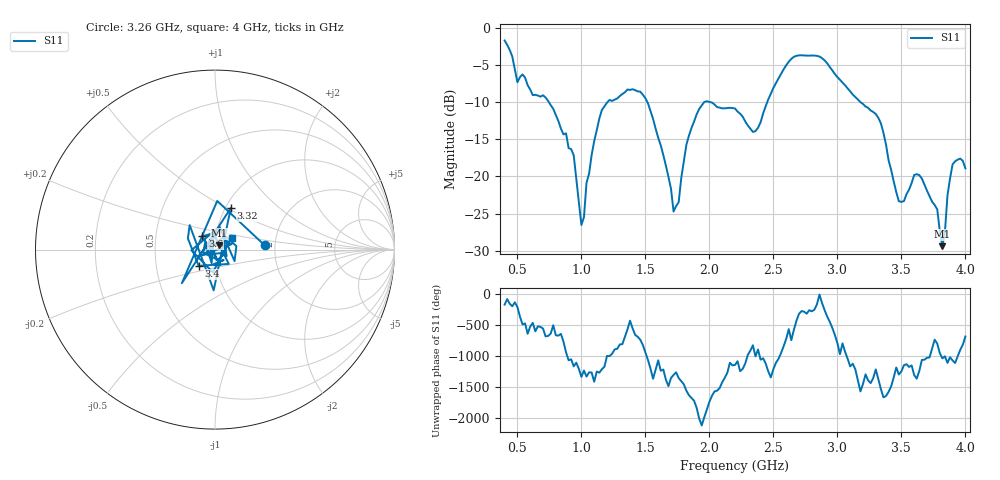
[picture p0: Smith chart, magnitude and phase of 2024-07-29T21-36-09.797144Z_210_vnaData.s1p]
!Created with skrf (http://scikit-rf.org).
# Hz S RI R 50.0
!freq ReS11 ImS11
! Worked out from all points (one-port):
!   181 points, 400 MHz to 4 GHz, reference 50 ohm
!   lowest |S11| = -29.4 dB at 3.82 GHz (marker M1), VSWR 1.07, Z = 52.4 + j2.49 ohm
!   |S11| at or under -10 dB: 745.6 MHz to 1.204 GHz (458.3 MHz wide, 47 % of centre); 1.515 GHz to 1.959 GHz (443.5 MHz wide, 25.5 % of centre); 3.18 GHz to end of sweep (the widest 3 of 4)
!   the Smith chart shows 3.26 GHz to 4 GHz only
!   S11 on the Smith chart (normalised r, x): 3.26 GHz: 1.76, +0.09; 3.32 GHz: 1.06, +0.52; 3.4 GHz: 0.82, -0.15; 3.6 GHz: 0.86, +0.13; 4 GHz: 1.19, +0.16
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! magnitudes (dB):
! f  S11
! 400 MHz  -1.7
! 500 MHz  -7.3
! 720 MHz  -9.4
! 860 MHz  -14.3
! 940 MHz  -17.2
! 1 GHz  -26.5
! 1.14 GHz  -12.2
! 1.3 GHz  -9.2
! 1.5 GHz  -9.5
! 1.72 GHz  -24.7
! 1.76 GHz  -23.5
! 1.82 GHz  -15.7
! 1.92 GHz  -10.9
! 2.2 GHz  -10.9
! 2.36 GHz  -13.9
! 2.66 GHz  -3.9
! 2.86 GHz  -3.9
! 3.1 GHz  -8.5
! 3.26 GHz  -11.1
! 3.32 GHz  -12.1
! 3.4 GHz  -17.8
! 3.48 GHz  -23.3
! 3.56 GHz  -21.8
! 3.6 GHz  -19.8
! 3.78 GHz  -24.4
! 3.82 GHz  -29.4
! 3.9 GHz  -18.4
! 4 GHz  -18.9
